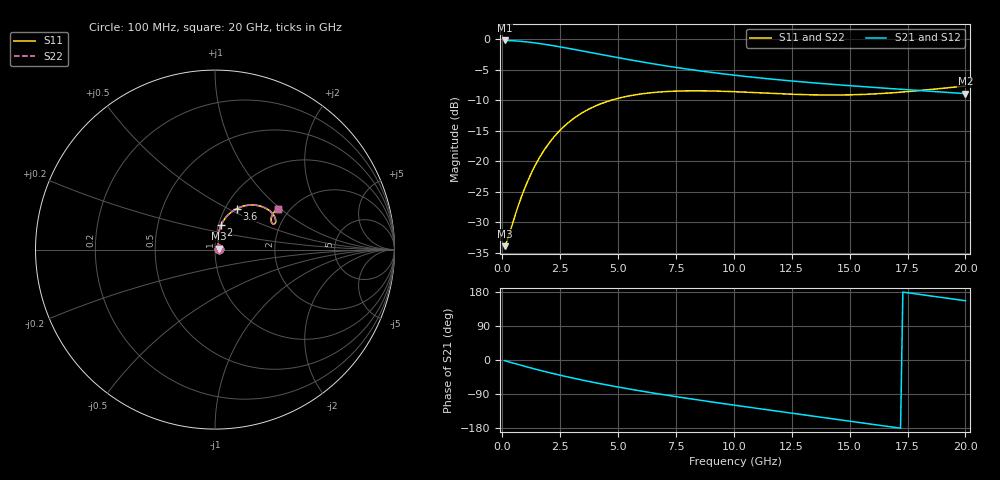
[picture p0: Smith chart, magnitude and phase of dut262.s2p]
! Created with skrf 1.9.0 (http://scikit-rf.org).
# GHz S RI R 50.0
!freq ReS11 ImS11 ReS21 ImS21 ReS12 ImS12 ReS22 ImS22
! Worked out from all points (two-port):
!   200 points, 100 MHz to 20 GHz, reference 50 ohm
!   highest |S21| = -0.17 dB at 100 MHz (marker M1); lowest = -8.9 dB at 20 GHz (marker M2)
!   |S21| within 3 dB of the highest: start of sweep to 5.262 GHz
!   lowest |S11| = -33.9 dB at 100 MHz (marker M3), VSWR 1.04, Z = 52 + j0.525 ohm
!   |S11| at or under -10 dB: start of sweep to 4.678 GHz
!   |S22| runs from -33.9 to -7.6 dB; largest |S21 - S12| = 1.9e-15
!   S11 on the Smith chart (normalised r, x): 100 MHz: 1.04, +0.01; 2 GHz: 1.03, +0.28; 3.6 GHz: 1.14, +0.56; 20 GHz: 1.74, +0.95
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0.1  0.0196 0.00505  0.9797 -0.0295  0.9797 -0.0295  0.0196 0.00505
0.3  0.0193 0.0163  0.9739 -0.0892  0.9739 -0.0892  0.0193 0.0163
0.8  0.0179 0.0464  0.9366 -0.2305  0.9366 -0.2305  0.0179 0.0464
1.1  0.018 0.0668  0.901 -0.3072  0.901 -0.3072  0.018 0.0668
1.5  0.0214 0.0967  0.842 -0.3975  0.842 -0.3975  0.0214 0.0967
2  0.0335 0.1356  0.756 -0.4899  0.756 -0.4899  0.0335 0.1356
2.3  0.0452 0.158  0.7007 -0.5347  0.7007 -0.5347  0.0452 0.158
2.7  0.0654 0.1852  0.6252 -0.5829  0.6252 -0.5829  0.0654 0.1852
3.5  0.1163 0.2254  0.4756 -0.6449  0.4756 -0.6449  0.1163 0.2254
3.6  0.1232 0.229  0.4575 -0.6499  0.4575 -0.6499  0.1232 0.229
4.3  0.1712 0.2452  0.3362 -0.6705  0.3362 -0.6705  0.1712 0.2452
5  0.2157 0.2483  0.2266 -0.6713  0.2266 -0.6713  0.2157 0.2483
5.9  0.263 0.2389  0.1038 -0.6521  0.1038 -0.6521  0.263 0.2389
6.8  0.2975 0.2213  0.000397 -0.6181  0.000397 -0.6181  0.2975 0.2213
8.4  0.3307 0.1855  -0.1434 -0.5379  -0.1434 -0.5379  0.3307 0.1855
10.1  0.3381 0.1561  -0.2528 -0.4395  -0.2528 -0.4395  0.3381 0.1561
11.7  0.3312 0.1429  -0.3248 -0.3414  -0.3248 -0.3414  0.3312 0.1429
13.4  0.32 0.1449  -0.3737 -0.2343  -0.3737 -0.2343  0.32 0.1449
15  0.3132 0.159  -0.3959 -0.1333  -0.3959 -0.1333  0.3132 0.159
16.7  0.3149 0.1817  -0.3951 -0.0293  -0.3951 -0.0293  0.3149 0.1817
18.3  0.3265 0.2047  -0.3728 0.0608  -0.3728 0.0608  0.3265 0.2047
20  0.3482 0.2249  -0.3297 0.1436  -0.3297 0.1436  0.3482 0.2249
